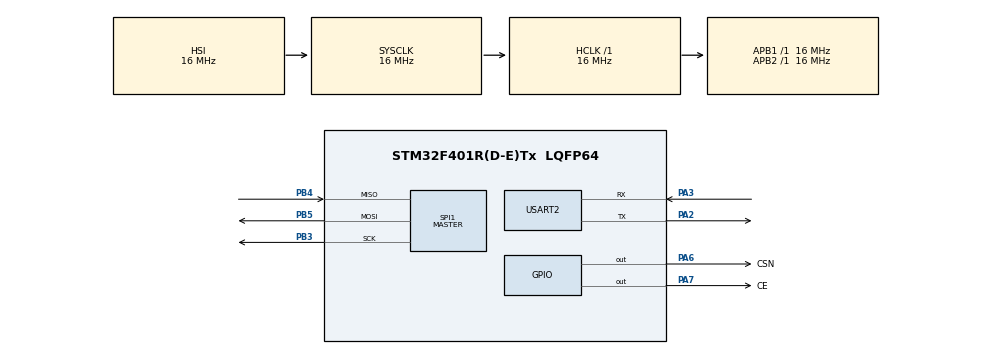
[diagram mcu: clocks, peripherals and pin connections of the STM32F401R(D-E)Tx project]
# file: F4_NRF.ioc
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Mcu.Family=STM32F4
Mcu.Name=STM32F401R(D-E)Tx
Mcu.Package=LQFP64
NVIC.PriorityGroup=NVIC_PRIORITYGROUP_4
NVIC.USART2_IRQn=true\:0\:0\:false\:false\:true\:true\:true
PA13.Mode=Serial_Wire
PA13.Signal=SYS_JTMS-SWDIO
PA14.Mode=Serial_Wire
PA14.Signal=SYS_JTCK-SWCLK
PA2.Mode=Asynchronous
PA2.Signal=USART2_TX
PA3.Mode=Asynchronous
PA3.Signal=USART2_RX
PA6.GPIO_Label=CSN
PA6.Signal=GPIO_Output
PA7.GPIO_Label=CE
PA7.Signal=GPIO_Output
PB3.Mode=Full_Duplex_Master
PB3.Signal=SPI1_SCK
PB4.Mode=Full_Duplex_Master
PB4.Signal=SPI1_MISO
PB5.Mode=Full_Duplex_Master
PB5.Signal=SPI1_MOSI
PH0\ -\ OSC_IN.Mode=HSE-External-Oscillator
PH0\ -\ OSC_IN.Signal=RCC_OSC_IN
PH1\ -\ OSC_OUT.Mode=HSE-External-Oscillator
PH1\ -\ OSC_OUT.Signal=RCC_OSC_OUT
ProjectManager.HeapSize=0x200
ProjectManager.StackSize=0x400
ProjectManager.TargetToolchain=EWARM V8.32
RCC.AHBFreq_Value=16000000
RCC.APB1Freq_Value=16000000
RCC.APB2Freq_Value=16000000
RCC.CortexFreq_Value=16000000
RCC.HSE_VALUE=25000000
RCC.HSI_VALUE=16000000
RCC.LSE_VALUE=32768
RCC.SYSCLKFreq_VALUE=16000000
RCC.VCOOutputFreq_Value=192000000
SPI1.BaudRatePrescaler=SPI_BAUDRATEPRESCALER_32
SPI1.Direction=SPI_DIRECTION_2LINES
SPI1.Mode=SPI_MODE_MASTER
SPI1.VirtualType=VM_MASTER
USART2.VirtualMode=VM_ASYNC
board=custom

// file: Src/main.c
/* USER CODE BEGIN Header */
/**
  ******************************************************************************
  * @file           : main.c
  * @brief          : Main program body
  ******************************************************************************
  * @attention
  *
  * <h2><center>&copy; Copyright (c) 2020 STMicroelectronics.
  * All rights reserved.</center></h2>
  *
  * This software component is licensed by ST under BSD 3-Clause license,
  * the "License"; You may not use this file except in compliance with the
  * License. You may obtain a copy of the License at:
  *                        opensource.org/licenses/BSD-3-Clause
  *
  ******************************************************************************
  */
/* USER CODE END Header */

#include "main.h"

/* USER CODE BEGIN Includes */

#include "MY_NRF24.h"
#include <stdlib.h>
#include <stdio.h>
/* USER CODE END Includes */

/* USER CODE BEGIN PD */

#define Roll_Modify    '1'
#define Pitch_Modify    '2'
#define Yaw_Modify      '3'

/* USER CODE END PD */

/* USER CODE BEGIN PM */
void INPUT_KEYBOARD();
void Modify_R_PID();
void Modify_P_PID();
void Modify_Y_PID();
/* USER CODE END PM */

SPI_HandleTypeDef hspi1;

UART_HandleTypeDef huart2;

void SystemClock_Config(void);
static void MX_GPIO_Init(void);
static void MX_SPI1_Init(void);
static void MX_USART2_UART_Init(void);

/* USER CODE BEGIN 0 */
/****NRF VAL******/
uint8_t buffer[255];
uint8_t data ;// UART IT 데이터
uint64_t TxpipeAddrs = 0x11223344AA;
char myTxData[32] = "Hello World!";
char AckPayload[32];

/**UART IT VAL**/
uint8_t C_buff[7];// 소숫점 저장용 변수
static uint8_t save_flag=0;
static uint8_t C_count=0;
static char input_flag=0;

int fputc(int ch ,FILE *f)
{
 HAL_UART_Transmit(&huart2,(uint8_t*)&ch,1,0xFFFF);
 return ch;
}

/* USER CODE END 0 */

int main(void)
{

  /* MCU Configuration--------------------------------------------------------*/

  /* Reset of all peripherals, Initializes the Flash interface and the Systick. */
  HAL_Init();

  /* USER CODE BEGIN Init */
   float P_buffer[3];
   float R_buffer[3];
   float Y_buffer[3];
   char c_buff[3]={'P','I','D'};
   char i;
   char mode;
  // uint8_t interface_status=0x00;

   P_buffer[0]=12.345;
   P_buffer[1]=23.345;
   P_buffer[2]=42.345;

   R_buffer[0]=.345;
   R_buffer[1]=23.345;
   R_buffer[2]=42.345;

   Y_buffer[0]=12.345;
   Y_buffer[1]=3.345;
   Y_buffer[2]=.345;

  /* USER CODE END Init */

  /* Configure the system clock */
  SystemClock_Config();

  /* Initialize all configured peripherals */
  MX_GPIO_Init();
  MX_SPI1_Init();
  MX_USART2_UART_Init();
  /* USER CODE BEGIN 2 */
 HAL_UART_Receive_IT(&huart2,&data,1);
 printf("start\r\n");

        printf("\r\n-----PITCH PID------\r\n");
 /**************ROLL****************/
       for(i=0;i<3;i++)
       printf("R-%c : %6.3f ",c_buff[i],R_buffer[i]);
       printf("\n\r");
/**************PITCH****************/
       for(i=0;i<3;i++)
       printf("P-%c : %6.3f ",c_buff[i],P_buffer[i]);
       printf("\n\r");
/**************YAW****************/
       for(i=0;i<3;i++)
       printf("Y-%c : %6.3f ",c_buff[i],Y_buffer[i]);
       printf("\n\r");

       printf("1. Roll_Modify \n\r\
2. Pitch_Modify \n\r\
3. Yaw_Modify \n\r");

  /* USER CODE END 2 */

  /* Infinite loop */
  while (1)
  {
    /* USER CODE BEGIN 3 */
        // HAL_UART_Transmit(&huart2,buffer, sizeof(buffer),10);

      mode = data;

       switch(mode){

       case Roll_Modify://Roll
         data = 0;
         mode = 0;
         Modify_R_PID();
                printf("\r\n1. Roll_Modify \n\r\
2. Pitch_Modify \n\r\
3. Yaw_Modify \n\r");
         break;

       case Pitch_Modify://Pitch
          printf("P-PID\r\n");
          data = 0;
          mode = 0;
                printf("\r\n1. Roll_Modify \n\r\
2. Pitch_Modify \n\r\
3. Yaw_Modify \n\r");
         break;

       case Yaw_Modify://YAWW
          printf("Y-PID\r\n");
          data = 0;
          mode = 0;
                          printf("\r\n1. Roll_Modify \n\r\
2. Pitch_Modify \n\r\
3. Yaw_Modify \n\r");
         break;
       default://이외의 입력;
         break;
        }
  }

  /* USER CODE END 3 */
}

void SystemClock_Config(void)
{
  RCC_OscInitTypeDef RCC_OscInitStruct = {0};
  RCC_ClkInitTypeDef RCC_ClkInitStruct = {0};

  /** Configure the main internal regulator output voltage
  */
  __HAL_RCC_PWR_CLK_ENABLE();
  __HAL_PWR_VOLTAGESCALING_CONFIG(PWR_REGULATOR_VOLTAGE_SCALE2);
  /** Initializes the CPU, AHB and APB busses clocks
  */
  RCC_OscInitStruct.OscillatorType = RCC_OSCILLATORTYPE_HSI;
  RCC_OscInitStruct.HSIState = RCC_HSI_ON;
  RCC_OscInitStruct.HSICalibrationValue = RCC_HSICALIBRATION_DEFAULT;
  RCC_OscInitStruct.PLL.PLLState = RCC_PLL_NONE;
  if (HAL_RCC_OscConfig(&RCC_OscInitStruct) != HAL_OK)
  {
    Error_Handler();
  }
  /** Initializes the CPU, AHB and APB busses clocks
  */
  RCC_ClkInitStruct.ClockType = RCC_CLOCKTYPE_HCLK|RCC_CLOCKTYPE_SYSCLK
                              |RCC_CLOCKTYPE_PCLK1|RCC_CLOCKTYPE_PCLK2;
  RCC_ClkInitStruct.SYSCLKSource = RCC_SYSCLKSOURCE_HSI;
  RCC_ClkInitStruct.AHBCLKDivider = RCC_SYSCLK_DIV1;
  RCC_ClkInitStruct.APB1CLKDivider = RCC_HCLK_DIV1;
  RCC_ClkInitStruct.APB2CLKDivider = RCC_HCLK_DIV1;

  if (HAL_RCC_ClockConfig(&RCC_ClkInitStruct, FLASH_LATENCY_0) != HAL_OK)
  {
    Error_Handler();
  }
}

static void MX_SPI1_Init(void)
{

  /* SPI1 parameter configuration*/
  hspi1.Instance = SPI1;
  hspi1.Init.Mode = SPI_MODE_MASTER;
  hspi1.Init.Direction = SPI_DIRECTION_2LINES;
  hspi1.Init.DataSize = SPI_DATASIZE_8BIT;
  hspi1.Init.CLKPolarity = SPI_POLARITY_LOW;
  hspi1.Init.CLKPhase = SPI_PHASE_1EDGE;
  hspi1.Init.NSS = SPI_NSS_SOFT;
  hspi1.Init.BaudRatePrescaler = SPI_BAUDRATEPRESCALER_32;
  hspi1.Init.FirstBit = SPI_FIRSTBIT_MSB;
  hspi1.Init.TIMode = SPI_TIMODE_DISABLE;
  hspi1.Init.CRCCalculation = SPI_CRCCALCULATION_DISABLE;
  hspi1.Init.CRCPolynomial = 10;
  if (HAL_SPI_Init(&hspi1) != HAL_OK)
  {
    Error_Handler();
  }

}

static void MX_USART2_UART_Init(void)
{

  huart2.Instance = USART2;
  huart2.Init.BaudRate = 115200;
  huart2.Init.WordLength = UART_WORDLENGTH_8B;
  huart2.Init.StopBits = UART_STOPBITS_1;
  huart2.Init.Parity = UART_PARITY_NONE;
  huart2.Init.Mode = UART_MODE_TX_RX;
  huart2.Init.HwFlowCtl = UART_HWCONTROL_NONE;
  huart2.Init.OverSampling = UART_OVERSAMPLING_16;
  if (HAL_UART_Init(&huart2) != HAL_OK)
  {
    Error_Handler();
  }

}

static void MX_GPIO_Init(void)
{
  GPIO_InitTypeDef GPIO_InitStruct = {0};

  /* GPIO Ports Clock Enable */
  __HAL_RCC_GPIOH_CLK_ENABLE();
  __HAL_RCC_GPIOA_CLK_ENABLE();
  __HAL_RCC_GPIOB_CLK_ENABLE();

  /*Configure GPIO pin Output Level */
  HAL_GPIO_WritePin(GPIOA, CSN_Pin|CE_Pin, GPIO_PIN_RESET);

  /*Configure GPIO pins : CSN_Pin CE_Pin */
  GPIO_InitStruct.Pin = CSN_Pin|CE_Pin;
  GPIO_InitStruct.Mode = GPIO_MODE_OUTPUT_PP;
  GPIO_InitStruct.Pull = GPIO_NOPULL;
  GPIO_InitStruct.Speed = GPIO_SPEED_FREQ_LOW;
  HAL_GPIO_Init(GPIOA, &GPIO_InitStruct);

}

/* USER CODE BEGIN 4 */
void Modify_R_PID()
{
  printf("\r\n******************* R-PID ********************** X == ESC\r\n ");
  printf("Input R-P : ");
  data = '\0';//입력 버퍼 비우기
  input_flag=1;// 인터럽트  검출
  while(!(data=='x'))
  {
   // INPUT_KEYBOARD();
  }

}

void INPUT_KEYBOARD()
{
  static char i;//for문 제어용 변수

/*****엔터 입력****/
    if(data==0x0D)// 엔터 입력 받으면 저장
    {
      input_flag=0;
      C_buff[6]='\0';
      printf("\r\n save : %s\r\n",C_buff);

      for( i=0;i<C_count;i++)//문자열 저장
      {
        printf("[%d]%c ",i,C_buff[i]);
        C_buff[i]='\0';//
      }
      C_count=0;//문자 카운터 초기화
     // data='x';//키보드 입력 탈출용
    }

    /*******백스페이스 입력*******/
    else if(data==0x7f)//백스페이스
    {
      data ='\0';
      --C_count;
      if(C_count==255)
        C_count=0;

      C_buff[C_count]='\0';
     // printf("\r\n[%d)%s",C_count,C_buff);
    }

    /****숫자 입력****/
    else if(data <= '9' && data >= '0' ||data == '.' )
    {
       printf("[%d] %c \r\n",C_count,C_buff[C_count]);
     if(C_count<6)// 6글자 이하만 입력 받음
        {
        C_buff[C_count]=data;
         printf("\r\n ok");
        ++C_count;
        }
        data ='\0';
    }

    else if(data=='x')
    {
      printf("\r\nbye\r\n");
      return ;
    }
    else
    {
    //    data = '\0';//입력 버퍼 비우기
    }

    if(C_count<6)// 6글자 이하만 입력 받음
        {
        C_buff[C_count]=data;
        ++C_count;
        }
        data ='\0';

}

void HAL_UART_RxCpltCallback(UART_HandleTypeDef *huart)
{
  if(huart->Instance == huart2.Instance)
  {
    HAL_UART_Transmit(&huart2,&data, sizeof(data),10);
    INPUT_KEYBOARD();

  }
   HAL_UART_Receive_IT(&huart2,&data,1);
}

/* USER CODE END 4 */

void Error_Handler(void)
{
}

/************************ (C) COPYRIGHT STMicroelectronics *****END OF FILE****/
